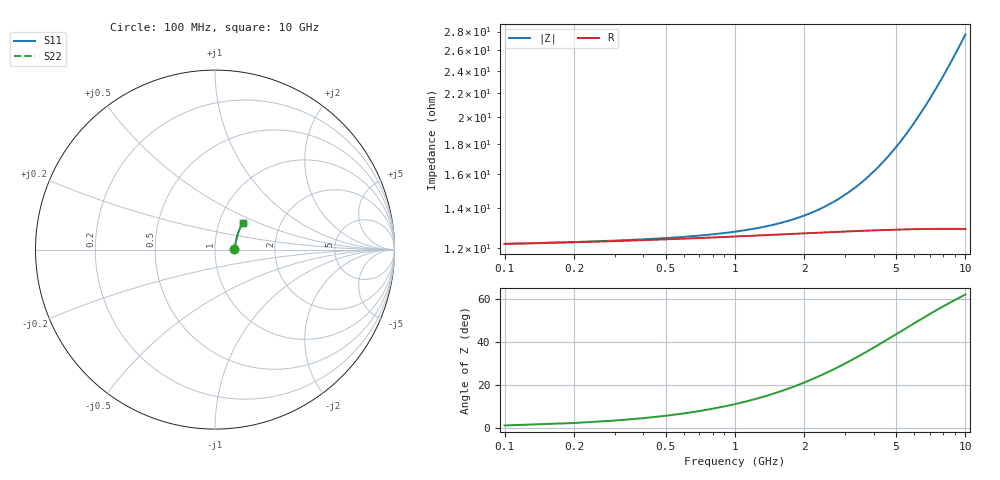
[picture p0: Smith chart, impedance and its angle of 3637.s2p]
# Hz S RI R 50.00
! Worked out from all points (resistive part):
!   100 points, 100 MHz to 10 GHz, reference 50 ohm
!   read as one part in series: R = 12.2 ohm at 100 MHz
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1e8  0.1085 0.0016  0.8915 -0.0023  0.8915 -0.0023  0.1085 0.0016
2e8  0.1092 0.0032  0.8908 -0.00459  0.8908 -0.00459  0.1092 0.0032
3e8  0.1097 0.0048  0.8903 -0.00688  0.8903 -0.00688  0.1097 0.0048
6e8  0.1107 0.00957  0.8893 -0.0137  0.8893 -0.0137  0.1107 0.00957
1e9  0.1118 0.0159  0.8882 -0.0229  0.8882 -0.0229  0.1118 0.0159
1.3e9  0.1126 0.0207  0.8874 -0.0297  0.8874 -0.0297  0.1126 0.0207
1.6e9  0.1133 0.0254  0.8866 -0.0365  0.8866 -0.0365  0.1133 0.0254
1.8e9  0.1138 0.0285  0.8861 -0.041  0.8861 -0.041  0.1138 0.0285
2.2e9  0.1148 0.0348  0.885 -0.0501  0.885 -0.0501  0.1148 0.0348
2.6e9  0.1159 0.041  0.8839 -0.0591  0.8839 -0.0591  0.1159 0.041
3e9  0.1171 0.0473  0.8826 -0.0681  0.8826 -0.0681  0.1171 0.0473
3.4e9  0.1184 0.0535  0.8813 -0.077  0.8813 -0.077  0.1184 0.0535
3.7e9  0.1194 0.0581  0.8802 -0.0837  0.8802 -0.0837  0.1194 0.0581
4.1e9  0.1209 0.0642  0.8787 -0.0927  0.8787 -0.0927  0.1209 0.0642
4.6e9  0.1228 0.0718  0.8766 -0.1037  0.8766 -0.1037  0.1228 0.0718
5.1e9  0.125 0.0794  0.8743 -0.1148  0.8743 -0.1148  0.125 0.0794
5.9e9  0.1287 0.0913  0.8703 -0.1323  0.8703 -0.1323  0.1287 0.0913
6.7e9  0.1329 0.1031  0.8659 -0.1496  0.8659 -0.1496  0.1329 0.1031
7.6e9  0.1382 0.116  0.8603 -0.1688  0.8603 -0.1688  0.1382 0.116
8.4e9  0.1433 0.1273  0.8549 -0.1856  0.8549 -0.1856  0.1433 0.1273
9.2e9  0.1489 0.1383  0.849 -0.2022  0.849 -0.2022  0.1489 0.1383
1e10  0.1548 0.149  0.8426 -0.2185  0.8426 -0.2185  0.1548 0.149
